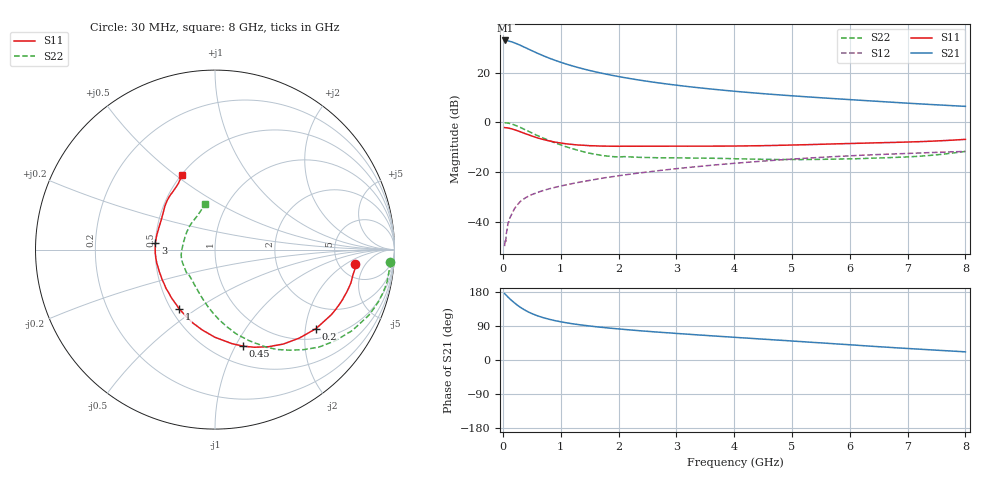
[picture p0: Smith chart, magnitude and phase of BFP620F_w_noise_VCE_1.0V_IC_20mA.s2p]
! Infineon Technologies  Discrete & RF Semiconductors
! BFP620F
! VCE =  1.0 V,  IC =  20 mA
! Common Emitter S-Parameters:  Dec 2014
# GHz  S  MA  R  50
!  f  S11  S21  S12  S22
! GHz  MAG  ANG  MAG  ANG  MAG  ANG  MAG  ANG
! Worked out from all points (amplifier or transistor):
!   95 points, 30 MHz to 8 GHz, reference 50 ohm
!   highest |S21| = 32.9 dB at 40 MHz (marker M1)
!   |S21| within 3 dB of that: start of sweep to 401.3 MHz
!   unconditionally stable (mu >= 1): 3.008 GHz to end of sweep
!   at 300 MHz: K = 0.28, MSG = 31.4 dB, |S12| = -31.8 dB
!   at 3.3 GHz: K = 1.01, MAG = 15.4 dB, |S12| = -17.9 dB
!   at 8 GHz: K = 1.06, MAG = 7.5 dB, |S12| = -11.6 dB
!   lowest NFmin = 0.84 dB at 450 MHz
!   S11 on the Smith chart (normalised r, x): 30 MHz: 7.05, -3.05; 200 MHz: 1.27, -2.29; 450 MHz: 0.69, -1.08; 1 GHz: 0.55, -0.43; 3 GHz: 0.50, +0.04; 8 GHz: 0.50, +0.53
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0.03  0.787 -6.0  43.91 175.3  0.0033 97.4  0.9771 -4.1
0.04  0.7867 -8.0  43.92 173.6  0.0045 85.7  0.9802 -5.8
0.08  0.7752 -15.9  43.42 167.4  0.0079 84.8  0.9714 -12.4
0.12  0.7574 -23.7  42.16 161.4  0.0121 80.9  0.9505 -18.8
0.15  0.7425 -29.3  41.28 157.3  0.0143 76.0  0.9301 -23.4
0.2  0.7146 -38.0  39.31 150.8  0.0186 72.9  0.888 -30.5
0.25  0.6813 -46.3  37.31 144.7  0.0222 69.7  0.8419 -37.0
0.3  0.6499 -54.0  35.26 139.3  0.0258 67.6  0.7945 -43.1
0.4  0.5867 -68.0  31.14 130.0  0.0312 63.2  0.6981 -53.4
0.45  0.5607 -73.7  29.21 126.1  0.0336 61.5  0.6574 -57.9
0.6  0.4882 -90.1  24.28 116.5  0.0394 58.8  0.5429 -69.4
0.7  0.4531 -99.1  21.66 111.6  0.0432 57.7  0.4838 -75.9
0.8  0.4262 -107.1  19.44 107.5  0.0466 57.1  0.4326 -81.5
1  0.3862 -120.9  16.05 100.9  0.0531 56.4  0.3541 -91.7
1.4  0.3477 -142.0  11.75 91.6  0.0657 56.5  0.2569 -110.2
2  0.332 -163.8  8.306 82.0  0.0852 56.0  0.2028 -135.8
2.7  0.3333 179.7  6.182 73.4  0.1081 53.6  0.1952 -154.7
3  0.3338 173.8  5.578 70.1  0.1181 52.5  0.1949 -160.5
4.1  0.337 156.6  4.118 58.9  0.1543 46.9  0.1857 -177.7
5.4  0.3615 141.8  3.174 46.1  0.1961 38.5  0.181 157.8
6.7  0.3953 127.9  2.549 33.2  0.2315 29.0  0.1969 131.7
8  0.457 114.0  2.096 21.5  0.2619 19.7  0.2619 102.2
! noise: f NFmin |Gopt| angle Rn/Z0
0.45  0.84  0.05  2  0.21
0.9  0.9  0.04  6  0.18
1.5  0.94  0.04  8  0.15
1.8  0.96  0.04  9  0.15
1.9  0.97  0.01  28  0.15
2.4  1.01  0.01  88  0.15
3.5  1.08  0.04  -178  0.15
5.5  1.22  0.15  230  0.1
6  1.25  0.15  253  0.14
